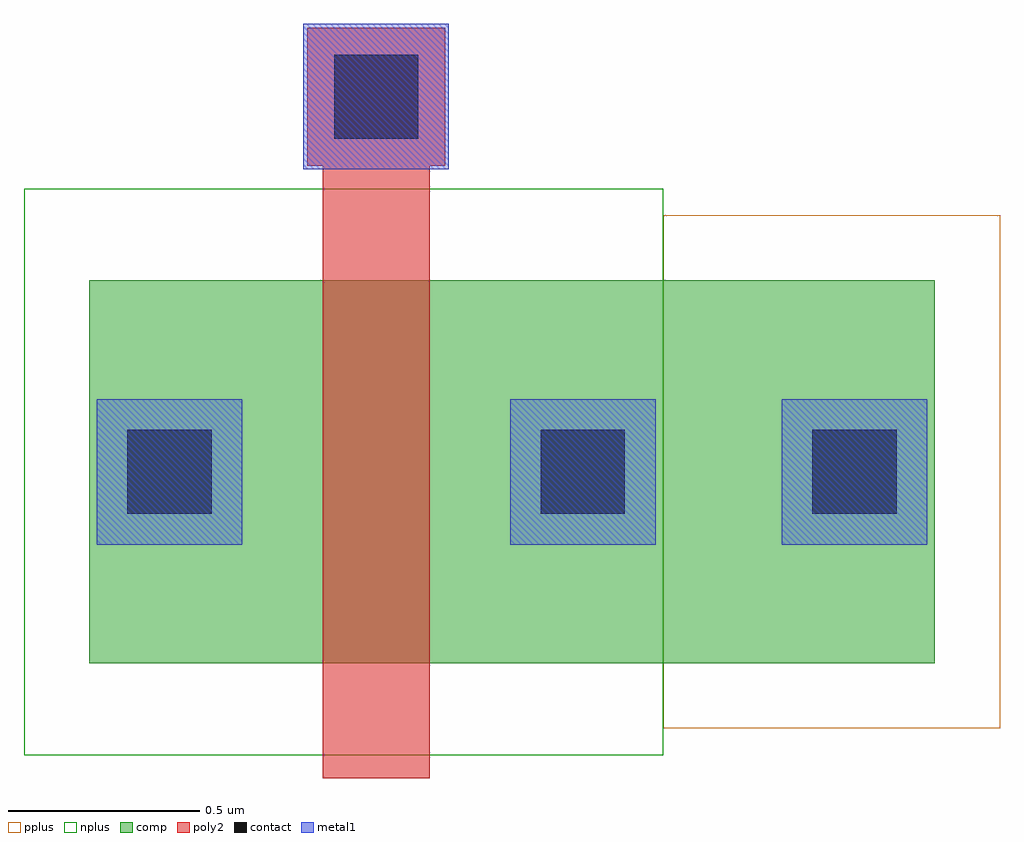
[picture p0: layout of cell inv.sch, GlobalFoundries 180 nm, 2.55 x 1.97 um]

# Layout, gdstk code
import gdstk
lib = gdstk.Library(unit=1e-6, precision=5e-09)
def R(c, l, rs):  # rectangles x0, y0, x1, y1
    for r in rs: c.add(gdstk.rectangle(r[:2], r[2:], *l))
comp = (22, 0)
poly2 = (30, 0)
pplus = (31, 0)
nplus = (32, 0)
contact = (33, 0)
metal1 = (34, 0)

nfet = lib.new_cell('nfet')
R(nfet, comp, [(-0.42,0,0,1), (0,0,0.66,1), (0.66,0,1.08,1), (1.08,0,1.79,1)])
R(nfet, poly2, [(0.19,-0.3,0.47,1.3), (0.15,1.3,0.51,1.66)])
R(nfet, pplus, [(1.08,-0.17,1.96,1.17)])
R(nfet, nplus, [(-0.59,-0.24,1.08,1.24)])
R(nfet, contact, [(-0.32,0.39,-0.1,0.61), (0.76,0.39,0.98,0.61), (1.47,0.39,1.69,0.61), (0.22,1.37,0.44,1.59)])
R(nfet, metal1, [(-0.4,0.31,-0.02,0.69), (0.68,0.31,1.06,0.69), (1.39,0.31,1.77,0.69), (0.14,1.29,0.52,1.67)])

pfet = lib.new_cell('pfet')

inv_sch = lib.new_cell('inv.sch')
inv_sch.add(gdstk.Reference(nfet, (-0.45,-0.18)))
inv_sch.add(gdstk.Reference(pfet, (-0.11,2.31)))
inv_sch.add(gdstk.Reference(pfet, (-0.84,2.62)))

lib.write_gds('inv.sch.gds')
